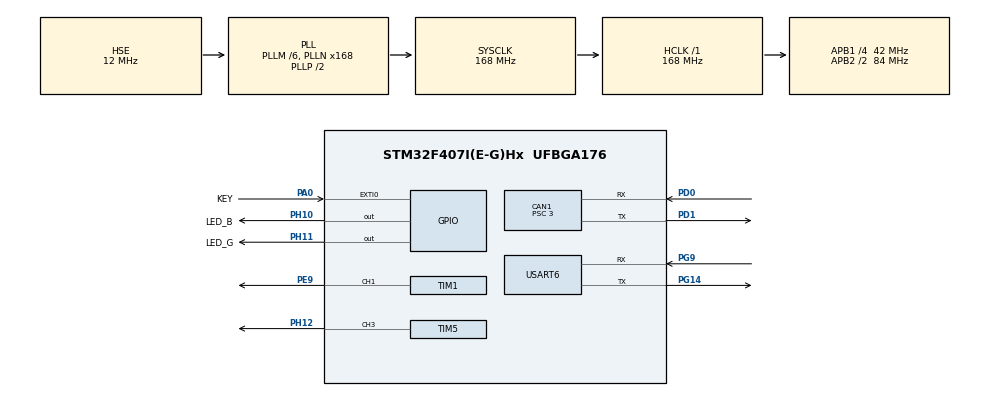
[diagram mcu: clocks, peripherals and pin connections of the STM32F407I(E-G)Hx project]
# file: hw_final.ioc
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CAN1.BS1=CAN_BS1_10TQ
CAN1.BS2=CAN_BS2_3TQ
CAN1.CalculateBaudRate=1000000
CAN1.CalculateTimeBit=1000
CAN1.CalculateTimeQuantum=71.42857142857143
CAN1.Prescaler=3
Dma.Request0=USART6_RX
Dma.Request1=USART6_TX
Dma.USART6_RX.0.Direction=DMA_PERIPH_TO_MEMORY
Dma.USART6_RX.0.FIFOMode=DMA_FIFOMODE_DISABLE
Dma.USART6_RX.0.Instance=DMA2_Stream1
Dma.USART6_RX.0.MemDataAlignment=DMA_MDATAALIGN_BYTE
Dma.USART6_RX.0.MemInc=DMA_MINC_ENABLE
Dma.USART6_RX.0.Mode=DMA_NORMAL
Dma.USART6_RX.0.PeriphDataAlignment=DMA_PDATAALIGN_BYTE
Dma.USART6_RX.0.PeriphInc=DMA_PINC_DISABLE
Dma.USART6_RX.0.Priority=DMA_PRIORITY_HIGH
Dma.USART6_TX.1.Direction=DMA_MEMORY_TO_PERIPH
Dma.USART6_TX.1.FIFOMode=DMA_FIFOMODE_DISABLE
Dma.USART6_TX.1.Instance=DMA2_Stream6
Dma.USART6_TX.1.MemDataAlignment=DMA_MDATAALIGN_BYTE
Dma.USART6_TX.1.MemInc=DMA_MINC_ENABLE
Dma.USART6_TX.1.Mode=DMA_NORMAL
Dma.USART6_TX.1.PeriphDataAlignment=DMA_PDATAALIGN_BYTE
Dma.USART6_TX.1.PeriphInc=DMA_PINC_DISABLE
Dma.USART6_TX.1.Priority=DMA_PRIORITY_HIGH
FREERTOS.Tasks01=defaultTask,0,128,StartDefaultTask,Default,NULL,Dynamic,NULL,NULL;MotorTask,3,256,StartMotorTask,Default,NULL,Dynamic,NULL,NULL;UartTask,1,256,StartUartTask,Default,NULL,Dynamic,NULL,NULL;ServoTask,1,128,StartServoTask,Default,NULL,Dynamic,NULL,NULL;LedTask,-2,128,StartLedTask,Default,NULL,Dynamic,NULL,NULL;PrintTask,-1,512,StartPrintTask,Default,NULL,Dynamic,NULL,NULL
FREERTOS.configTOTAL_HEAP_SIZE=20480
FREERTOS.configUSE_NEWLIB_REENTRANT=1
Mcu.Family=STM32F4
Mcu.Name=STM32F407I(E-G)Hx
Mcu.Package=UFBGA176
NVIC.CAN1_RX0_IRQn=true\:5\:0\:false\:false\:true\:true\:true\:true\:true
NVIC.DMA2_Stream1_IRQn=true\:5\:0\:false\:false\:true\:true\:false\:true\:true
NVIC.DMA2_Stream6_IRQn=true\:5\:0\:false\:false\:true\:true\:false\:true\:true
NVIC.EXTI0_IRQn=true\:5\:0\:false\:false\:true\:false\:true\:true\:true
NVIC.PriorityGroup=NVIC_PRIORITYGROUP_4
NVIC.TIM3_IRQn=true\:15\:0\:false\:false\:true\:false\:false\:true\:true
NVIC.TIM6_DAC_IRQn=true\:5\:0\:false\:false\:true\:true\:true\:true\:true
NVIC.TimeBase=TIM3_IRQn
NVIC.TimeBaseIP=TIM3
NVIC.USART6_IRQn=true\:5\:0\:false\:false\:true\:true\:true\:true\:true
PA0-WKUP.GPIO_Label=KEY
PA0-WKUP.GPIO_ModeDefaultEXTI=GPIO_MODE_IT_FALLING
PA0-WKUP.GPIO_PuPd=GPIO_PULLUP
PA0-WKUP.Signal=GPXTI0
PA10.Signal=USART1_RX
PA13.Mode=Serial_Wire
PA13.Signal=SYS_JTMS-SWDIO
PA14.Mode=Serial_Wire
PA14.Signal=SYS_JTCK-SWCLK
PA9.Signal=USART1_TX
PD0.Mode=CAN_Activate
PD0.Signal=CAN1_RX
PD1.Mode=CAN_Activate
PD1.Signal=CAN1_TX
PE9.Signal=S_TIM1_CH1
PG14.Mode=Asynchronous
PG14.Signal=USART6_TX
PG9.Mode=Asynchronous
PG9.Signal=USART6_RX
PH0-OSC_IN.Mode=HSE-External-Oscillator
PH0-OSC_IN.Signal=RCC_OSC_IN
PH1-OSC_OUT.Mode=HSE-External-Oscillator
PH1-OSC_OUT.Signal=RCC_OSC_OUT
PH10.GPIO_Label=LED_B
PH10.Signal=GPIO_Output
PH11.GPIO_Label=LED_G
PH11.Signal=GPIO_Output
PH12.Signal=S_TIM5_CH3
ProjectManager.HeapSize=0x200
ProjectManager.StackSize=0x400
ProjectManager.TargetToolchain=STM32CubeIDE
RCC.48MHZClocksFreq_Value=84000000
RCC.AHBFreq_Value=168000000
RCC.APB1CLKDivider=RCC_HCLK_DIV4
RCC.APB1Freq_Value=42000000
RCC.APB1TimFreq_Value=84000000
RCC.APB2CLKDivider=RCC_HCLK_DIV2
RCC.APB2Freq_Value=84000000
RCC.APB2TimFreq_Value=168000000
RCC.CortexFreq_Value=168000000
RCC.HCLKFreq_Value=168000000
RCC.HSE_VALUE=12000000
RCC.HSI_VALUE=16000000
RCC.LSE_VALUE=32768
RCC.PLLM=6
RCC.PLLN=168
RCC.PLLSourceVirtual=RCC_PLLSOURCE_HSE
RCC.SYSCLKFreq_VALUE=168000000
RCC.SYSCLKSource=RCC_SYSCLKSOURCE_PLLCLK
RCC.VCOOutputFreq_Value=336000000
SH.S_TIM1_CH1.0=TIM1_CH1,PWM Generation1 CH1
SH.S_TIM5_CH3.0=TIM5_CH3,PWM Generation3 CH3
TIM1.Channel-PWM\ Generation1\ CH1=TIM_CHANNEL_1
TIM1.Period=19999
TIM1.Prescaler=167
TIM1.Pulse-PWM\ Generation1\ CH1=1500
TIM5.Channel-PWM\ Generation3\ CH3=TIM_CHANNEL_3
TIM5.Period=65535
TIM5.Prescaler=0
TIM6.Period=999
TIM6.Prescaler=83
USART6.VirtualMode=VM_ASYNC
VP_FREERTOS_VS_CMSIS_V1.Mode=CMSIS_V1
VP_SYS_VS_tim3.Mode=TIM3
VP_TIM6_VS_ClockSourceINT.Mode=Enable_Timer
board=custom

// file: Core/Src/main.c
/* USER CODE BEGIN Header */
/**
  ******************************************************************************
  * @file           : main.c
  * @brief          : Main program body
  ******************************************************************************
  * @attention
  *
  * Copyright (c) 2026 STMicroelectronics.
  * All rights reserved.
  *
  * This software is licensed under terms that can be found in the LICENSE file
  * in the root directory of this software component.
  * If no LICENSE file comes with this software, it is provided AS-IS.
  *
  ******************************************************************************
  */
/* USER CODE END Header */
#include "main.h"
#include "cmsis_os.h"

/* USER CODE BEGIN Includes */
#include "motor.h"
#include "bsp_can.h"
#include "bsp_uart.h"
#include "motor_ctrl.h"
#include "stdio.h"
#include "servo_ctrl.h"
#include "pid.h"
#include "cmd_parser.h"
#include "led_ctrl.h"
/* USER CODE END Includes */

CAN_HandleTypeDef hcan1;

TIM_HandleTypeDef htim1;
TIM_HandleTypeDef htim5;
TIM_HandleTypeDef htim6;

UART_HandleTypeDef huart6;
DMA_HandleTypeDef hdma_usart6_rx;
DMA_HandleTypeDef hdma_usart6_tx;

osThreadId defaultTaskHandle;
osThreadId MotorTaskHandle;
osThreadId UartTaskHandle;
osThreadId ServoTaskHandle;
osThreadId LedTaskHandle;
osThreadId PrintTaskHandle;

void SystemClock_Config(void);
static void MX_GPIO_Init(void);
static void MX_DMA_Init(void);
static void MX_CAN1_Init(void);
static void MX_TIM1_Init(void);
static void MX_TIM5_Init(void);
static void MX_USART6_UART_Init(void);
static void MX_TIM6_Init(void);
void StartDefaultTask(void const * argument);
void StartMotorTask(void const * argument);
void StartUartTask(void const * argument);
void StartServoTask(void const * argument);
void StartLedTask(void const * argument);
void StartPrintTask(void const * argument);

int main(void)
{

  /* MCU Configuration--------------------------------------------------------*/

  /* Reset of all peripherals, Initializes the Flash interface and the Systick. */
  HAL_Init();

  /* Configure the system clock */
  SystemClock_Config();

  /* Initialize all configured peripherals */
  MX_GPIO_Init();
  MX_DMA_Init();
  MX_CAN1_Init();
  MX_TIM1_Init();
  MX_TIM5_Init();
  MX_USART6_UART_Init();
  MX_TIM6_Init();
  /* USER CODE BEGIN 2 */
  BSP_CAN_Init();
  Motor_Init();
  PID_Init();
  Bsp_Uart_Init();
  Servo_Ctrl_Init();
  /* 上电自检：能收到这行说明 TX 通路和接线没问题 */
  HAL_UART_Transmit(&huart6, (const uint8_t *)"BOOT OK\r\n", 9, 100);
  /* USER CODE END 2 */

  /* Create the thread(s) */
  /* definition and creation of defaultTask */
  osThreadDef(defaultTask, StartDefaultTask, osPriorityNormal, 0, 128);
  defaultTaskHandle = osThreadCreate(osThread(defaultTask), NULL);

  /* definition and creation of MotorTask */
  osThreadDef(MotorTask, StartMotorTask, osPriorityRealtime, 0, 256);
  MotorTaskHandle = osThreadCreate(osThread(MotorTask), NULL);

  /* definition and creation of UartTask */
  osThreadDef(UartTask, StartUartTask, osPriorityAboveNormal, 0, 256);
  UartTaskHandle = osThreadCreate(osThread(UartTask), NULL);

  /* definition and creation of ServoTask */
  osThreadDef(ServoTask, StartServoTask, osPriorityAboveNormal, 0, 128);
  ServoTaskHandle = osThreadCreate(osThread(ServoTask), NULL);

  /* definition and creation of LedTask */
  osThreadDef(LedTask, StartLedTask, osPriorityLow, 0, 128);
  LedTaskHandle = osThreadCreate(osThread(LedTask), NULL);

  /* definition and creation of PrintTask */
  osThreadDef(PrintTask, StartPrintTask, osPriorityBelowNormal, 0, 512);
  PrintTaskHandle = osThreadCreate(osThread(PrintTask), NULL);

  /* Start scheduler */
  osKernelStart();

  /* We should never get here as control is now taken by the scheduler */

  /* Infinite loop */
  while (1)
  {

  }
}

void SystemClock_Config(void)
{
  RCC_OscInitTypeDef RCC_OscInitStruct = {0};
  RCC_ClkInitTypeDef RCC_ClkInitStruct = {0};

  /** Configure the main internal regulator output voltage
  */
  __HAL_RCC_PWR_CLK_ENABLE();
  __HAL_PWR_VOLTAGESCALING_CONFIG(PWR_REGULATOR_VOLTAGE_SCALE1);

  /** Initializes the RCC Oscillators according to the specified parameters
  * in the RCC_OscInitTypeDef structure.
  */
  RCC_OscInitStruct.OscillatorType = RCC_OSCILLATORTYPE_HSE;
  RCC_OscInitStruct.HSEState = RCC_HSE_ON;
  RCC_OscInitStruct.PLL.PLLState = RCC_PLL_ON;
  RCC_OscInitStruct.PLL.PLLSource = RCC_PLLSOURCE_HSE;
  RCC_OscInitStruct.PLL.PLLM = 6;
  RCC_OscInitStruct.PLL.PLLN = 168;
  RCC_OscInitStruct.PLL.PLLP = RCC_PLLP_DIV2;
  RCC_OscInitStruct.PLL.PLLQ = 4;
  if (HAL_RCC_OscConfig(&RCC_OscInitStruct) != HAL_OK)
  {
    Error_Handler();
  }

  /** Initializes the CPU, AHB and APB buses clocks
  */
  RCC_ClkInitStruct.ClockType = RCC_CLOCKTYPE_HCLK|RCC_CLOCKTYPE_SYSCLK
                              |RCC_CLOCKTYPE_PCLK1|RCC_CLOCKTYPE_PCLK2;
  RCC_ClkInitStruct.SYSCLKSource = RCC_SYSCLKSOURCE_PLLCLK;
  RCC_ClkInitStruct.AHBCLKDivider = RCC_SYSCLK_DIV1;
  RCC_ClkInitStruct.APB1CLKDivider = RCC_HCLK_DIV4;
  RCC_ClkInitStruct.APB2CLKDivider = RCC_HCLK_DIV2;

  if (HAL_RCC_ClockConfig(&RCC_ClkInitStruct, FLASH_LATENCY_5) != HAL_OK)
  {
    Error_Handler();
  }
}

static void MX_CAN1_Init(void)
{

  hcan1.Instance = CAN1;
  hcan1.Init.Prescaler = 3;
  hcan1.Init.Mode = CAN_MODE_NORMAL;
  hcan1.Init.SyncJumpWidth = CAN_SJW_1TQ;
  hcan1.Init.TimeSeg1 = CAN_BS1_10TQ;
  hcan1.Init.TimeSeg2 = CAN_BS2_3TQ;
  hcan1.Init.TimeTriggeredMode = DISABLE;
  hcan1.Init.AutoBusOff = DISABLE;
  hcan1.Init.AutoWakeUp = DISABLE;
  hcan1.Init.AutoRetransmission = DISABLE;
  hcan1.Init.ReceiveFifoLocked = DISABLE;
  hcan1.Init.TransmitFifoPriority = DISABLE;
  if (HAL_CAN_Init(&hcan1) != HAL_OK)
  {
    Error_Handler();
  }

}

static void MX_TIM1_Init(void)
{

  TIM_MasterConfigTypeDef sMasterConfig = {0};
  TIM_OC_InitTypeDef sConfigOC = {0};
  TIM_BreakDeadTimeConfigTypeDef sBreakDeadTimeConfig = {0};

  htim1.Instance = TIM1;
  htim1.Init.Prescaler = 167;
  htim1.Init.CounterMode = TIM_COUNTERMODE_UP;
  htim1.Init.Period = 19999;
  htim1.Init.ClockDivision = TIM_CLOCKDIVISION_DIV1;
  htim1.Init.RepetitionCounter = 0;
  htim1.Init.AutoReloadPreload = TIM_AUTORELOAD_PRELOAD_DISABLE;
  if (HAL_TIM_PWM_Init(&htim1) != HAL_OK)
  {
    Error_Handler();
  }
  sMasterConfig.MasterOutputTrigger = TIM_TRGO_RESET;
  sMasterConfig.MasterSlaveMode = TIM_MASTERSLAVEMODE_DISABLE;
  if (HAL_TIMEx_MasterConfigSynchronization(&htim1, &sMasterConfig) != HAL_OK)
  {
    Error_Handler();
  }
  sConfigOC.OCMode = TIM_OCMODE_PWM1;
  sConfigOC.Pulse = 1500;
  sConfigOC.OCPolarity = TIM_OCPOLARITY_HIGH;
  sConfigOC.OCNPolarity = TIM_OCNPOLARITY_HIGH;
  sConfigOC.OCFastMode = TIM_OCFAST_DISABLE;
  sConfigOC.OCIdleState = TIM_OCIDLESTATE_RESET;
  sConfigOC.OCNIdleState = TIM_OCNIDLESTATE_RESET;
  if (HAL_TIM_PWM_ConfigChannel(&htim1, &sConfigOC, TIM_CHANNEL_1) != HAL_OK)
  {
    Error_Handler();
  }
  sBreakDeadTimeConfig.OffStateRunMode = TIM_OSSR_DISABLE;
  sBreakDeadTimeConfig.OffStateIDLEMode = TIM_OSSI_DISABLE;
  sBreakDeadTimeConfig.LockLevel = TIM_LOCKLEVEL_OFF;
  sBreakDeadTimeConfig.DeadTime = 0;
  sBreakDeadTimeConfig.BreakState = TIM_BREAK_DISABLE;
  sBreakDeadTimeConfig.BreakPolarity = TIM_BREAKPOLARITY_HIGH;
  sBreakDeadTimeConfig.AutomaticOutput = TIM_AUTOMATICOUTPUT_DISABLE;
  if (HAL_TIMEx_ConfigBreakDeadTime(&htim1, &sBreakDeadTimeConfig) != HAL_OK)
  {
    Error_Handler();
  }
  HAL_TIM_MspPostInit(&htim1);

}

static void MX_TIM5_Init(void)
{

  TIM_MasterConfigTypeDef sMasterConfig = {0};
  TIM_OC_InitTypeDef sConfigOC = {0};

  htim5.Instance = TIM5;
  htim5.Init.Prescaler = 0;
  htim5.Init.CounterMode = TIM_COUNTERMODE_UP;
  htim5.Init.Period = 65535;
  htim5.Init.ClockDivision = TIM_CLOCKDIVISION_DIV1;
  htim5.Init.AutoReloadPreload = TIM_AUTORELOAD_PRELOAD_DISABLE;
  if (HAL_TIM_PWM_Init(&htim5) != HAL_OK)
  {
    Error_Handler();
  }
  sMasterConfig.MasterOutputTrigger = TIM_TRGO_RESET;
  sMasterConfig.MasterSlaveMode = TIM_MASTERSLAVEMODE_DISABLE;
  if (HAL_TIMEx_MasterConfigSynchronization(&htim5, &sMasterConfig) != HAL_OK)
  {
    Error_Handler();
  }
  sConfigOC.OCMode = TIM_OCMODE_PWM1;
  sConfigOC.Pulse = 0;
  sConfigOC.OCPolarity = TIM_OCPOLARITY_HIGH;
  sConfigOC.OCFastMode = TIM_OCFAST_DISABLE;
  if (HAL_TIM_PWM_ConfigChannel(&htim5, &sConfigOC, TIM_CHANNEL_3) != HAL_OK)
  {
    Error_Handler();
  }
  HAL_TIM_MspPostInit(&htim5);

}

static void MX_TIM6_Init(void)
{

  TIM_MasterConfigTypeDef sMasterConfig = {0};

  htim6.Instance = TIM6;
  htim6.Init.Prescaler = 83;
  htim6.Init.CounterMode = TIM_COUNTERMODE_UP;
  htim6.Init.Period = 999;
  htim6.Init.AutoReloadPreload = TIM_AUTORELOAD_PRELOAD_DISABLE;
  if (HAL_TIM_Base_Init(&htim6) != HAL_OK)
  {
    Error_Handler();
  }
  sMasterConfig.MasterOutputTrigger = TIM_TRGO_RESET;
  sMasterConfig.MasterSlaveMode = TIM_MASTERSLAVEMODE_DISABLE;
  if (HAL_TIMEx_MasterConfigSynchronization(&htim6, &sMasterConfig) != HAL_OK)
  {
    Error_Handler();
  }

}

static void MX_USART6_UART_Init(void)
{

  huart6.Instance = USART6;
  huart6.Init.BaudRate = 115200;
  huart6.Init.WordLength = UART_WORDLENGTH_8B;
  huart6.Init.StopBits = UART_STOPBITS_1;
  huart6.Init.Parity = UART_PARITY_NONE;
  huart6.Init.Mode = UART_MODE_TX_RX;
  huart6.Init.HwFlowCtl = UART_HWCONTROL_NONE;
  huart6.Init.OverSampling = UART_OVERSAMPLING_16;
  if (HAL_UART_Init(&huart6) != HAL_OK)
  {
    Error_Handler();
  }

}

static void MX_DMA_Init(void)
{

  /* DMA controller clock enable */
  __HAL_RCC_DMA2_CLK_ENABLE();

  /* DMA interrupt init */
  /* DMA2_Stream1_IRQn interrupt configuration */
  HAL_NVIC_SetPriority(DMA2_Stream1_IRQn, 5, 0);
  HAL_NVIC_EnableIRQ(DMA2_Stream1_IRQn);
  /* DMA2_Stream6_IRQn interrupt configuration */
  HAL_NVIC_SetPriority(DMA2_Stream6_IRQn, 5, 0);
  HAL_NVIC_EnableIRQ(DMA2_Stream6_IRQn);

}

static void MX_GPIO_Init(void)
{
  GPIO_InitTypeDef GPIO_InitStruct = {0};

  /* GPIO Ports Clock Enable */
  __HAL_RCC_GPIOG_CLK_ENABLE();
  __HAL_RCC_GPIOA_CLK_ENABLE();
  __HAL_RCC_GPIOD_CLK_ENABLE();
  __HAL_RCC_GPIOH_CLK_ENABLE();
  __HAL_RCC_GPIOE_CLK_ENABLE();

  /*Configure GPIO pin Output Level */
  HAL_GPIO_WritePin(GPIOH, LED_G_Pin|LED_B_Pin, GPIO_PIN_RESET);

  /*Configure GPIO pins : PA10 PA9 */
  GPIO_InitStruct.Pin = GPIO_PIN_10|GPIO_PIN_9;
  GPIO_InitStruct.Mode = GPIO_MODE_AF_PP;
  GPIO_InitStruct.Pull = GPIO_NOPULL;
  GPIO_InitStruct.Speed = GPIO_SPEED_FREQ_VERY_HIGH;
  GPIO_InitStruct.Alternate = GPIO_AF7_USART1;
  HAL_GPIO_Init(GPIOA, &GPIO_InitStruct);

  /*Configure GPIO pins : LED_G_Pin LED_B_Pin */
  GPIO_InitStruct.Pin = LED_G_Pin|LED_B_Pin;
  GPIO_InitStruct.Mode = GPIO_MODE_OUTPUT_PP;
  GPIO_InitStruct.Pull = GPIO_NOPULL;
  GPIO_InitStruct.Speed = GPIO_SPEED_FREQ_LOW;
  HAL_GPIO_Init(GPIOH, &GPIO_InitStruct);

  /*Configure GPIO pin : KEY_Pin */
  GPIO_InitStruct.Pin = KEY_Pin;
  GPIO_InitStruct.Mode = GPIO_MODE_IT_FALLING;
  GPIO_InitStruct.Pull = GPIO_PULLUP;
  HAL_GPIO_Init(KEY_GPIO_Port, &GPIO_InitStruct);

  /* EXTI interrupt init*/
  HAL_NVIC_SetPriority(EXTI0_IRQn, 5, 0);
  HAL_NVIC_EnableIRQ(EXTI0_IRQn);

}

void StartDefaultTask(void const * argument)
{
  for(;;)
  {
    osDelay(1);
  }
}

void StartMotorTask(void const * argument)
{
  /* USER CODE BEGIN StartMotorTask */
  Motor_Ctrl_Init();
  /* Infinite loop */
  for(;;)
  {
    Motor_Ctrl_Update();
    osDelay(1);
  }
  /* USER CODE END StartMotorTask */
}

void StartUartTask(void const * argument)
{
  /* USER CODE BEGIN StartUartTask */
  /* Infinite loop */
  for(;;)
  {
    Cmd_Parse_Motor();
    osDelay(1);
  }
  /* USER CODE END StartUartTask */
}

void StartServoTask(void const * argument)
{
  /* USER CODE BEGIN StartServoTask */
  /* Infinite loop */
  Servo_Ctrl_Init();
  for(;;)
  {
    Servo_Ctrl_Update();
    osDelay(1);
  }
  /* USER CODE END StartServoTask */
}

void StartLedTask(void const * argument)
{
  /* USER CODE BEGIN StartLedTask */
  /* Infinite loop */
  Led_Ctrl_Init();
  for(;;)
  {
    Led_Ctrl_Update();
    osDelay(1);
  }
  /* USER CODE END StartLedTask */
}

void StartPrintTask(void const * argument)
{
  /* USER CODE BEGIN StartPrintTask */
  /* Infinite loop */
  for(;;)
  {
    Cmd_Print_Speed();
    osDelay(2000);
  }
  /* USER CODE END StartPrintTask */
}

void HAL_TIM_PeriodElapsedCallback(TIM_HandleTypeDef *htim)
{
  if (htim->Instance == TIM3)
  {
    HAL_IncTick();
  }
}

void Error_Handler(void)
{
  __disable_irq();
  while (1)
  {
  }
}
